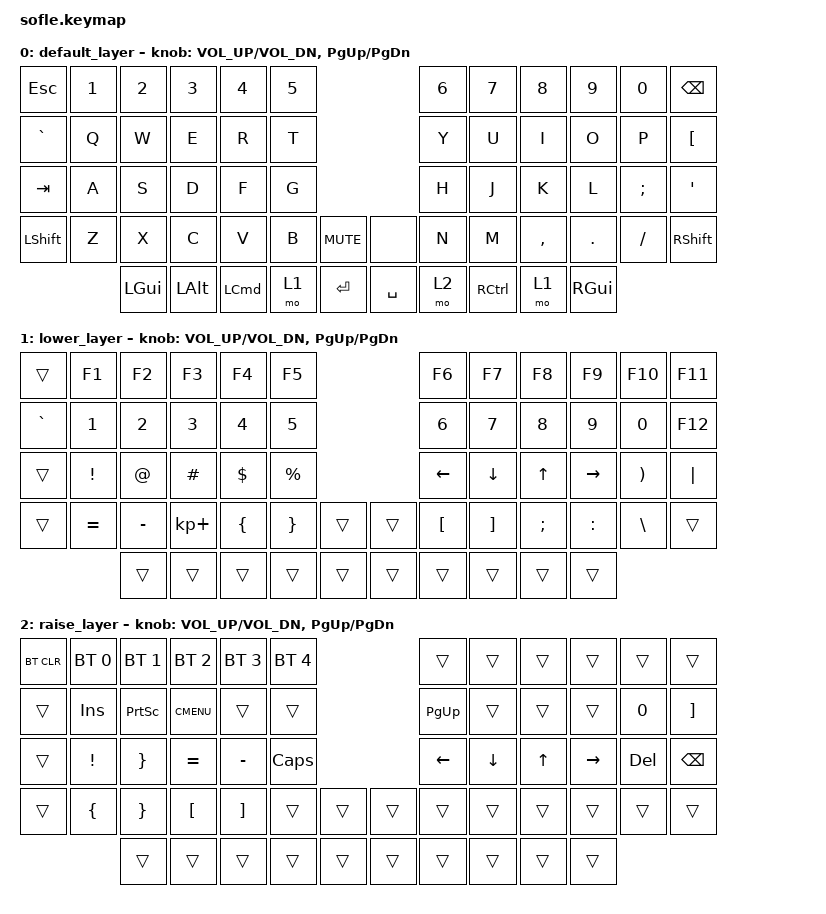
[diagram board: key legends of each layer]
/*
 * Copyright (c) 2020 The ZMK Contributors
 *
 * SPDX-License-Identifier: MIT
 */

#include <behaviors.dtsi>
#include <dt-bindings/zmk/bt.h>
#include <dt-bindings/zmk/keys.h>

/ {
    keymap {
        compatible = "zmk,keymap";

        default_layer {
            // ------------------------------------------------------------------------------------------------------------
            // |  ESC  |  1  |  2  |  3   |  4   |  5   |                   |  6   |  7    |  8    |  9   |   0   | BKSPC |
            // |  `    |  Q  |  W  |  E   |  R   |  T   |                   |  Y   |  U    |  I    |  O   |   P   |   [   |
            // |  TAB  |  A  |  S  |  D   |  F   |  G   |                   |  H   |  J    |  K    |  L   |   ;   |   '   |
            // | SHIFT |  Z  |  X  |  C   |  V   |  B   |  MUTE  |  |       |  N   |  M    |  ,    |  .   |   /   | SHIFT |
            //               | GUI | ALT  | CTRL | CMD  |  ENTER |  | SPACE | RAISE| CTRL  | LOWER | GUI  |

            bindings = <
&kp ESC    &kp N1  &kp N2    &kp N3    &kp N4            &kp N5                           &kp N6  &kp N7     &kp N8     &kp N9    &kp N0    &kp BSPC
&kp GRAVE  &kp Q   &kp W     &kp E     &kp R             &kp T                            &kp Y   &kp U      &kp I      &kp O     &kp P     &kp LBKT
&kp TAB    &kp A   &kp S     &kp D     &kp F             &kp G                            &kp H   &kp J      &kp K      &kp L     &kp SEMI  &kp SQT
&kp LSHFT  &kp Z   &kp X     &kp C     &kp V             &kp B   &kp C_MUTE    &none      &kp N   &kp M      &kp COMMA  &kp DOT   &kp FSLH  &kp RSHFT
                   &kp LGUI  &kp LALT  &kp LEFT_COMMAND  &mo 1   &kp RET       &kp SPACE  &mo 2   &kp RCTRL  &mo 1      &kp RGUI
            >;

            sensor-bindings = <&inc_dec_kp C_VOL_UP C_VOL_DN &inc_dec_kp PG_UP PG_DN>;
        };

        lower_layer {
            // TODO: Some binds are waiting for shifted keycode support.
            // ------------------------------------------------------------------------------------------------------------
            // |       |  F1 |  F2 |  F3  |  F4  |  F5  |                   |  F6  |  F7   |  F8   |  F9  |  F10  |  F11  |
            // | `     |   1 |   2 |   3  |   4  |   5  |                   |   6  |   7   |   8   |   9  |    0  |  F12  |
            // |       |  !  |  @  |  #   |  $   |  %   |                   |  ^   |  &    |  *    |  (   |   )   |   |   |
            // |       |  =  |  -  |  +   |  {   |  }   |        |  |       |  [   |  ]    |  ;    |  :   |   \   |       |
            //               |     |      |      |      |        |  |       |      |       |       |      |

            bindings = <
&trans     &kp F1     &kp F2     &kp F3       &kp F4    &kp F5                       &kp F6          &kp F7          &kp F8        &kp F9     &kp F10   &kp F11
&kp GRAVE  &kp N1     &kp N2     &kp N3       &kp N4    &kp N5                       &kp N6          &kp N7          &kp N8        &kp N9     &kp N0    &kp F12
&trans     &kp EXCL   &kp AT     &kp HASH     &kp DLLR  &kp PRCNT                    &kp LEFT_ARROW  &kp DOWN_ARROW  &kp UP_ARROW  &kp RIGHT  &kp RPAR  &kp PIPE
&trans     &kp EQUAL  &kp MINUS  &kp KP_PLUS  &kp LBRC  &kp RBRC   &trans    &trans  &kp LBKT        &kp RBKT        &kp SEMI      &kp COLON  &kp BSLH  &trans
                      &trans     &trans       &trans    &trans     &trans    &trans  &trans          &trans          &trans        &trans
            >;

            sensor-bindings = <&inc_dec_kp C_VOL_UP C_VOL_DN &inc_dec_kp PG_UP PG_DN>;
        };

        raise_layer {
            // ------------------------------------------------------------------------------------------------------------
            // |BTCLR| BT1  | BT2  |  BT3  |  BT4  |  BT5 |                |      |      |       |      |       |       |
            // |     | INS  | PSCR | GUI   |       |      |                | PGUP |      |       |      |       |   ]   |
            // |     | EXCL |   }  |   =   |   -   | CAPS |                | <-   |   v  |   ^   |  ->  |  DEL  | BKSPC |
            // |     |  {   |   }  |   [   |  ]    |      |      |  |      |      |      |       |      |       |       |
            //              |      |       |       |      |      |  |      |      |      |       |      |

            bindings = <
&bt BT_CLR  &bt BT_SEL 0  &bt BT_SEL 1  &bt BT_SEL 2  &bt BT_SEL 3  &bt BT_SEL 4                    &trans     &trans    &trans  &trans     &trans   &trans
&trans      &kp INS       &kp PSCRN     &kp K_CMENU   &trans        &trans                          &kp PG_UP  &trans    &trans  &trans     &kp N0   &kp RBKT
&trans      &kp EXCL      &kp RBRC      &kp EQUAL     &kp MINUS     &kp CLCK                        &kp LEFT   &kp DOWN  &kp UP  &kp RIGHT  &kp DEL  &kp BSPC
&trans      &kp LBRC      &kp RBRC      &kp LBKT      &kp RBKT      &trans        &trans    &trans  &trans     &trans    &trans  &trans     &trans   &trans
                          &trans        &trans        &trans        &trans        &trans    &trans  &trans     &trans    &trans  &trans
            >;

            sensor-bindings = <&inc_dec_kp C_VOL_UP C_VOL_DN &inc_dec_kp PG_UP PG_DN>;
        };
    };
};
